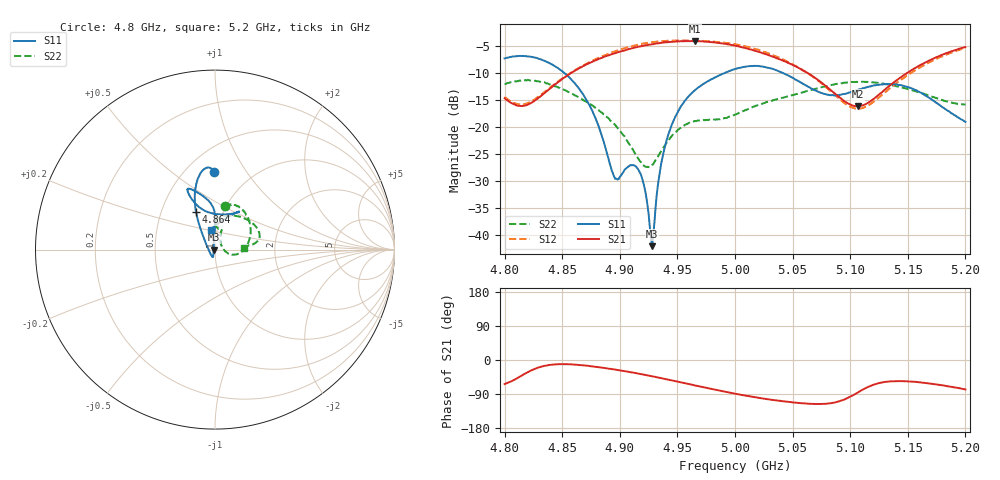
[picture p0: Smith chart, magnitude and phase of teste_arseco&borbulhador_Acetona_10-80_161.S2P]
! Network Analyzer HP8722D
! Hewlett-Packard
! Data name: Linha & Wilkinson
! Saver's name: Rodrigo Anjos
! Comments: Teste da utilização de aquisição
! continua pelo VNA HP8722D
! Time and date: 25/4/2025 16:36
!  Frequency  S11  S21  S12  S22
# HZ  S  MA R 50
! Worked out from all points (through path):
!   401 points, 4.8 GHz to 5.2 GHz, reference 50 ohm
!   highest |S21| = -3.99 dB at 4.965 GHz (marker M1); lowest = -16.1 dB at 5.107 GHz (marker M2)
!   lowest |S11| = -42.2 dB at 4.928 GHz (marker M3), VSWR 1.02, Z = 49.2 - j0.00178 ohm
!   |S11| at or under -10 dB: 4.852 GHz to 4.99 GHz (138.2 MHz wide, 2.81 % of centre); 5.042 GHz to end of sweep
!   |S22| runs from -27.5 to -11.2 dB; largest |S21 - S12| = 1.2
!   S11 on the Smith chart (normalised r, x): 4.8 GHz: 0.67, +0.72; 4.864 GHz: 0.75, +0.33; 5.2 GHz: 0.94, +0.21
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4.8e9  0.4351 90.8  0.1854 -63.5  0.1902 69.8  0.2511 77.3
4.82e9  0.4538 97.0  0.1612 -32.3  0.1669 98.6  0.2749 61.6
4.843e9  0.3729 106.5  0.2456 -11.7  0.249 118.9  0.2419 36.8
4.864e9  0.2327 116.9  0.3492 -12.8  0.3526 121.0  0.19 12.1
4.867e9  0.2099 118.5  0.363 -13.8  0.3671 120.6  0.1827 8.8
4.88e9  0.1124 128.9  0.4222 -18.4  0.4327 118.3  0.1477 -5.1
4.896e9  0.03298 -167.4  0.4877 -25.3  0.5074 113.2  0.1047 -15.5
4.91e9  0.04415 -107.6  0.5385 -32.7  0.5628 107.1  0.06423 -13.2
4.917e9  0.03851 -104.9  0.5621 -36.3  0.5883 103.5  0.04895 -0.4
4.921e9  0.0287 -109.0  0.5731 -38.7  0.6004 101.4  0.04377 13.3
4.928e9  0.007793 -179.9  0.5908 -43.0  0.6159 97.0  0.04456 40.8
4.934e9  0.03362 100.7  0.6027 -46.9  0.627 93.2  0.05547 58.0
4.939e9  0.06493 93.9  0.6136 -49.8  0.632 90.1  0.06702 65.1
4.946e9  0.1105 90.2  0.6221 -54.4  0.6369 85.7  0.08467 69.7
4.965e9  0.2189 91.1  0.6313 -67.1  0.6356 73.4  0.1139 71.3
5e9  0.3466 109.2  0.572 -88.9  0.591 50.8  0.1305 88.4
5.031e9  0.3519 115.2  0.4585 -104.8  0.4754 33.2  0.1746 84.5
5.067e9  0.2264 105.4  0.2997 -115.7  0.2973 23.6  0.2219 57.0
5.107e9  0.2228 64.3  0.1562 -85.0  0.1478 58.1  0.2636 24.1
5.134e9  0.2514 57.6  0.2418 -56.6  0.2267 88.8  0.2477 12.4
5.168e9  0.1888 69.7  0.4131 -61.8  0.3968 85.2  0.1964 7.0
5.2e9  0.1118 100.9  0.5548 -77.6  0.5436 70.1  0.1617 3.8
